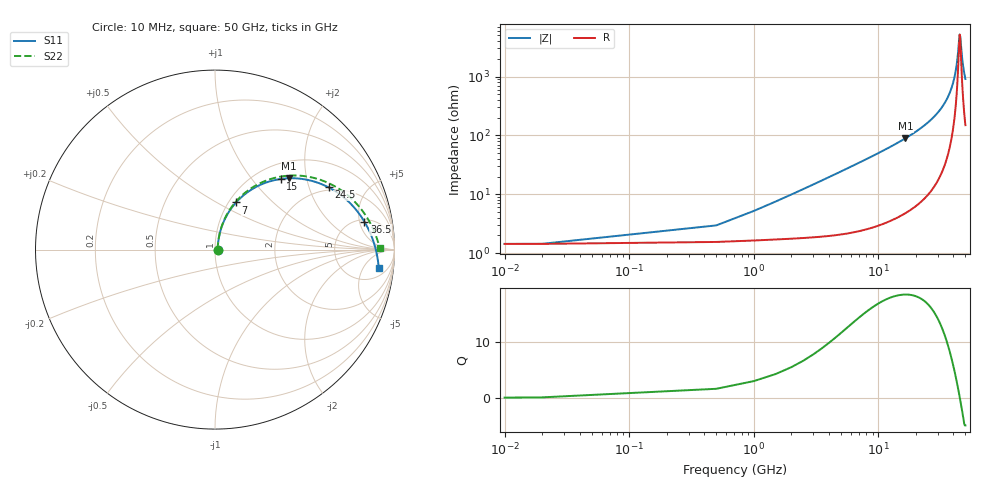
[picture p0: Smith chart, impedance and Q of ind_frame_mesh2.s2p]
! Created with skrf 2.2.0 (http://scikit-rf.org).
# GHz S DB R 50.0
! Port[1] = P1
! Port[2] = P2
!freq dBS11 angS11 dBS21 angS21 dBS12 angS12 dBS22 angS22
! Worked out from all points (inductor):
!   102 points, 10 MHz to 50 GHz, reference 50 ohm
!   read as 1/Y11, port 2 shorted: L = 778 pH near 1 GHz
!   highest Q = 18.7 at 16.5 GHz (marker M1), where L = 860 pH
!   self-resonance near 45 GHz
!   S11 on the Smith chart (normalised r, x): 10 MHz: 1.03, +0.00; 7 GHz: 1.08, +0.62; 15 GHz: 1.28, +1.41; 24.5 GHz: 1.88, +2.72; 36.5 GHz: 5.44, +5.97; 50 GHz: 9, -11
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0.01  -36.98 2.0  -0.12 -0.0  -0.12 -0.0  -36.98 2.0
0.5  -31.38 54.3  -0.14 -1.6  -0.14 -1.6  -31.38 54.4
1  -26.66 67.2  -0.15 -3.1  -0.15 -3.1  -26.66 67.3
1.5  -23.50 71.6  -0.17 -4.5  -0.17 -4.5  -23.50 71.8
2  -21.15 73.4  -0.19 -6.0  -0.19 -6.0  -21.16 73.6
3  -17.77 73.8  -0.25 -8.9  -0.25 -8.9  -17.78 74.1
4  -15.37 72.5  -0.31 -11.7  -0.31 -11.7  -15.38 72.9
5.5  -12.74 69.4  -0.43 -15.9  -0.43 -15.9  -12.75 70.0
7  -10.81 65.9  -0.59 -20.0  -0.59 -20.0  -10.82 66.7
8.5  -9.31 62.2  -0.77 -24.0  -0.77 -24.0  -9.32 63.2
11.5  -7.12 55.0  -1.21 -31.5  -1.21 -31.5  -7.13 56.4
15  -5.39 47.1  -1.80 -39.5  -1.80 -39.5  -5.40 48.8
16.5  -4.83 43.8  -2.07 -42.7  -2.07 -42.7  -4.84 45.8
17  -4.66 42.8  -2.17 -43.7  -2.17 -43.7  -4.67 44.9
20.5  -3.66 35.9  -2.84 -50.5  -2.84 -50.5  -3.67 38.4
24.5  -2.83 28.7  -3.64 -57.6  -3.64 -57.6  -2.85 31.7
25.5  -2.67 27.0  -3.85 -59.3  -3.85 -59.3  -2.68 30.2
29.5  -2.11 20.6  -4.67 -65.5  -4.67 -65.5  -2.12 24.3
33.5  -1.69 14.7  -5.51 -71.2  -5.51 -71.2  -1.70 19.0
36.5  -1.44 10.5  -6.14 -75.2  -6.14 -75.2  -1.45 15.3
42  -1.09 3.3  -7.32 -82.1  -7.32 -82.1  -1.10 8.9
50  -0.74 -6.4  -9.10 -91.3  -9.10 -91.3  -0.75 0.6
